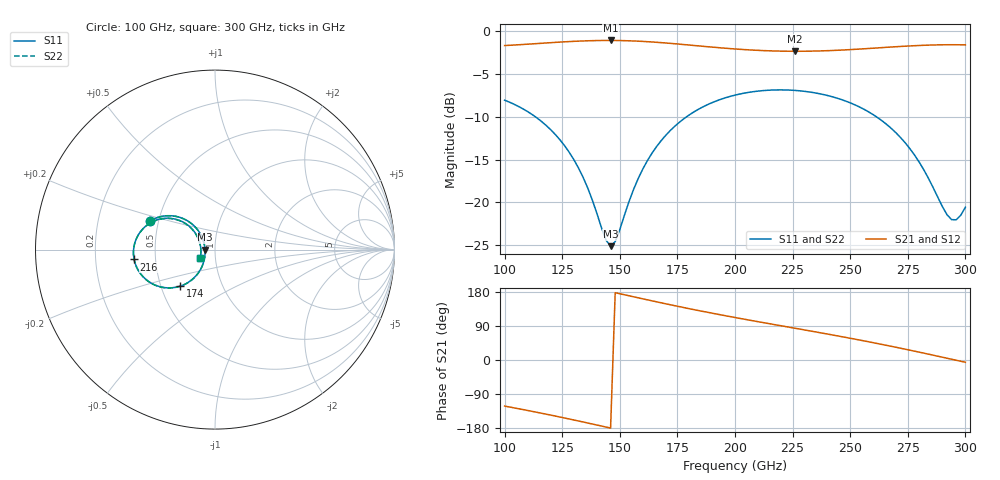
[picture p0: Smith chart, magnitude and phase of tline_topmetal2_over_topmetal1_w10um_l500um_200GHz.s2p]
#  GHZ S DB R 50
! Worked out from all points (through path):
!   101 points, 100 GHz to 300 GHz, reference 50 ohm
!   highest |S21| = -1.06 dB at 146 GHz (marker M1); lowest = -2.3 dB at 226 GHz (marker M2)
!   group delay of S21, straight-line fit = 3.34 ps
!   lowest |S11| = -25.1 dB at 146 GHz (marker M3), VSWR 1.12, Z = 44.8 - j0.102 ohm
!   |S11| at or under -10 dB: 113.4 GHz to 178.9 GHz (65.54 GHz wide, 44.8 % of centre); 261.4 GHz to end of sweep
!   |S22| runs from -25.1 to -6.8 dB; largest |S21 - S12| = 0
!   S11 on the Smith chart (normalised r, x): 100 GHz: 0.45, +0.17; 174 GHz: 0.63, -0.28; 216 GHz: 0.38, -0.05; 300 GHz: 0.85, -0.08
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100  -8.05 156.2  -1.65 -121.6  -1.65 -121.6  -8.05 156.3
110  -9.38 146.5  -1.50 -133.2  -1.50 -133.2  -9.38 146.6
120  -11.50 137.5  -1.32 -145.4  -1.32 -145.4  -11.50 137.6
128  -14.13 132.1  -1.19 -155.6  -1.19 -155.6  -14.12 132.2
134  -17.03 131.5  -1.12 -163.5  -1.12 -163.5  -17.03 131.5
144  -24.42 162.6  -1.06 -176.9  -1.06 -176.9  -24.43 162.7
146  -25.13 -178.8  -1.06 -179.6  -1.06 -179.6  -25.15 -178.7
148  -24.60 -159.8  -1.06 177.6  -1.06 177.6  -24.62 -159.6
158  -17.21 -126.1  -1.14 164.1  -1.14 164.1  -17.21 -125.9
168  -12.77 -128.8  -1.31 150.8  -1.31 150.8  -12.77 -128.6
174  -11.06 -133.5  -1.45 143.1  -1.45 143.1  -11.06 -133.3
186  -8.84 -144.6  -1.74 128.4  -1.74 128.4  -8.84 -144.4
200  -7.46 -158.0  -2.05 112.2  -2.05 112.2  -7.45 -157.8
216  -6.86 -173.0  -2.28 94.6  -2.28 94.6  -6.86 -172.8
226  -6.90 177.8  -2.32 83.9  -2.32 83.9  -6.90 178.0
234  -7.16 170.5  -2.30 75.2  -2.30 75.2  -7.16 170.7
252  -8.59 154.3  -2.10 55.1  -2.10 55.1  -8.58 154.6
268  -11.39 141.7  -1.82 35.9  -1.82 35.9  -11.38 142.0
278  -14.50 137.7  -1.67 23.2  -1.67 23.2  -14.48 138.1
294  -22.02 175.6  -1.56 2.0  -1.56 2.0  -21.96 175.9
296  -22.04 -171.8  -1.56 -0.7  -1.56 -0.7  -21.98 -171.6
300  -20.58 -150.6  -1.58 -6.0  -1.58 -6.0  -20.53 -150.6
